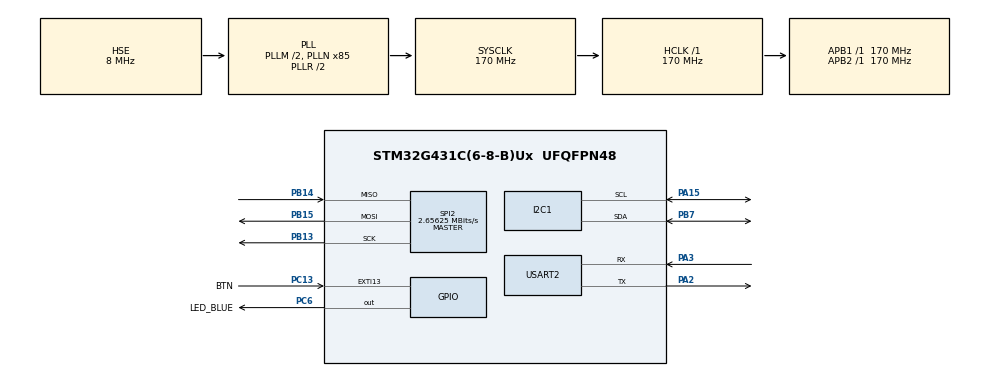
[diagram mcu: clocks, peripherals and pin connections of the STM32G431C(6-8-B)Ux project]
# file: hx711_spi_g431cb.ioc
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Dma.Request0=SPI2_RX
Dma.Request1=SPI2_TX
Dma.SPI2_RX.0.Direction=DMA_PERIPH_TO_MEMORY
Dma.SPI2_RX.0.EventEnable=DISABLE
Dma.SPI2_RX.0.Instance=DMA1_Channel1
Dma.SPI2_RX.0.MemDataAlignment=DMA_MDATAALIGN_BYTE
Dma.SPI2_RX.0.MemInc=DMA_MINC_ENABLE
Dma.SPI2_RX.0.Mode=DMA_NORMAL
Dma.SPI2_RX.0.PeriphDataAlignment=DMA_PDATAALIGN_BYTE
Dma.SPI2_RX.0.PeriphInc=DMA_PINC_DISABLE
Dma.SPI2_RX.0.Polarity=HAL_DMAMUX_REQ_GEN_RISING
Dma.SPI2_RX.0.Priority=DMA_PRIORITY_LOW
Dma.SPI2_RX.0.RequestNumber=1
Dma.SPI2_RX.0.SignalID=NONE
Dma.SPI2_RX.0.SyncEnable=DISABLE
Dma.SPI2_RX.0.SyncPolarity=HAL_DMAMUX_SYNC_NO_EVENT
Dma.SPI2_RX.0.SyncRequestNumber=1
Dma.SPI2_RX.0.SyncSignalID=NONE
Dma.SPI2_TX.1.Direction=DMA_MEMORY_TO_PERIPH
Dma.SPI2_TX.1.EventEnable=DISABLE
Dma.SPI2_TX.1.Instance=DMA1_Channel2
Dma.SPI2_TX.1.MemDataAlignment=DMA_MDATAALIGN_BYTE
Dma.SPI2_TX.1.MemInc=DMA_MINC_ENABLE
Dma.SPI2_TX.1.Mode=DMA_NORMAL
Dma.SPI2_TX.1.PeriphDataAlignment=DMA_PDATAALIGN_BYTE
Dma.SPI2_TX.1.PeriphInc=DMA_PINC_DISABLE
Dma.SPI2_TX.1.Polarity=HAL_DMAMUX_REQ_GEN_RISING
Dma.SPI2_TX.1.Priority=DMA_PRIORITY_LOW
Dma.SPI2_TX.1.RequestNumber=1
Dma.SPI2_TX.1.SignalID=NONE
Dma.SPI2_TX.1.SyncEnable=DISABLE
Dma.SPI2_TX.1.SyncPolarity=HAL_DMAMUX_SYNC_NO_EVENT
Dma.SPI2_TX.1.SyncRequestNumber=1
Dma.SPI2_TX.1.SyncSignalID=NONE
I2C1.Timing=0x30A0A7FB
Mcu.Family=STM32G4
Mcu.Name=STM32G431C(6-8-B)Ux
Mcu.Package=UFQFPN48
NVIC.DMA1_Channel1_IRQn=true\:0\:0\:false\:false\:true\:false\:true\:true
NVIC.DMA1_Channel2_IRQn=true\:0\:0\:false\:false\:true\:false\:true\:true
NVIC.EXTI15_10_IRQn=true\:0\:0\:false\:false\:true\:true\:true\:true
NVIC.PriorityGroup=NVIC_PRIORITYGROUP_4
NVIC.SPI2_IRQn=true\:0\:0\:false\:false\:true\:true\:true\:true
PA13.Mode=Serial_Wire
PA13.Signal=SYS_JTMS-SWDIO
PA14.Mode=Serial_Wire
PA14.Signal=SYS_JTCK-SWCLK
PA15.Mode=I2C
PA15.Signal=I2C1_SCL
PA2.Mode=Asynchronous
PA2.Signal=USART2_TX
PA3.Mode=Asynchronous
PA3.Signal=USART2_RX
PB13.GPIO_Speed=GPIO_SPEED_FREQ_HIGH
PB13.Mode=Full_Duplex_Master
PB13.Signal=SPI2_SCK
PB14.GPIO_Speed=GPIO_SPEED_FREQ_HIGH
PB14.Mode=Full_Duplex_Master
PB14.Signal=SPI2_MISO
PB15.GPIO_Speed=GPIO_SPEED_FREQ_HIGH
PB15.Mode=Full_Duplex_Master
PB15.Signal=SPI2_MOSI
PB7.Mode=I2C
PB7.Signal=I2C1_SDA
PC13.GPIO_Label=BTN
PC13.GPIO_ModeDefaultEXTI=GPIO_MODE_IT_RISING
PC13.GPIO_PuPd=GPIO_PULLDOWN
PC13.Signal=GPXTI13
PC14-OSC32_IN.Mode=LSE-External-Oscillator
PC14-OSC32_IN.Signal=RCC_OSC32_IN
PC15-OSC32_OUT.Mode=LSE-External-Oscillator
PC15-OSC32_OUT.Signal=RCC_OSC32_OUT
PC6.GPIO_Label=LED_BLUE
PC6.Signal=GPIO_Output
PF0-OSC_IN.Mode=HSE-External-Oscillator
PF0-OSC_IN.Signal=RCC_OSC_IN
PF1-OSC_OUT.Mode=HSE-External-Oscillator
PF1-OSC_OUT.Signal=RCC_OSC_OUT
ProjectManager.HeapSize=0x200
ProjectManager.StackSize=0x400
ProjectManager.TargetToolchain=STM32CubeIDE
RCC.ADC12Freq_Value=170000000
RCC.AHBFreq_Value=170000000
RCC.APB1Freq_Value=170000000
RCC.APB1TimFreq_Value=170000000
RCC.APB2Freq_Value=170000000
RCC.APB2TimFreq_Value=170000000
RCC.CortexFreq_Value=170000000
RCC.EXTERNAL_CLOCK_VALUE=12288000
RCC.HCLKFreq_Value=170000000
RCC.HSE_VALUE=8000000
RCC.HSI48_VALUE=48000000
RCC.HSI_VALUE=16000000
RCC.PLLM=RCC_PLLM_DIV2
RCC.PLLN=85
RCC.PLLSourceVirtual=RCC_PLLSOURCE_HSE
RCC.SYSCLKFreq_VALUE=170000000
RCC.SYSCLKSource=RCC_SYSCLKSOURCE_PLLCLK
RCC.USBFreq_Value=170000000
RCC.VCOOutputFreq_Value=340000000
SPI2.BaudRatePrescaler=SPI_BAUDRATEPRESCALER_64
SPI2.CalculateBaudRate=2.65625 MBits/s
SPI2.DataSize=SPI_DATASIZE_8BIT
SPI2.Direction=SPI_DIRECTION_2LINES
SPI2.Mode=SPI_MODE_MASTER
SPI2.VirtualType=VM_MASTER
USART2.VirtualMode-Asynchronous=VM_ASYNC
board=custom

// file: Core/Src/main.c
/* USER CODE BEGIN Header */
/**
  ******************************************************************************
  * @file           : main.c
  * @brief          : Main program body
  ******************************************************************************
  * @attention
  *
  * Copyright (c) 2024 STMicroelectronics.
  * All rights reserved.
  *
  * This software is licensed under terms that can be found in the LICENSE file
  * in the root directory of this software component.
  * If no LICENSE file comes with this software, it is provided AS-IS.
  *
  ******************************************************************************
  */
/* USER CODE END Header */
#include "main.h"
#include "dma.h"
#include "i2c.h"
#include "spi.h"
#include "usart.h"
#include "gpio.h"

/* USER CODE BEGIN Includes */
#include <math.h>
#include <stdio.h>
#include <stdlib.h>
#include "ssd1306.h"
#include "bit_band.h"
#include "eeprom.h"

/* USER CODE END Includes */

/* USER CODE BEGIN PD */
#define MEASURE_AMOUNT		3

#define OLED_UPDATE_PERIOD 500

#define BYTE_TO_BINARY(byte)  \
  (byte & 0x80 ? '1' : '0'), \
  (byte & 0x40 ? '1' : '0'), \
  (byte & 0x20 ? '1' : '0'), \
  (byte & 0x10 ? '1' : '0'), \
  (byte & 0x08 ? '1' : '0'), \
  (byte & 0x04 ? '1' : '0'), \
  (byte & 0x02 ? '1' : '0'), \
  (byte & 0x01 ? '1' : '0')

/* USER CODE END PD */

/* USER CODE BEGIN PV */
//volatile uint32_t multiplier = 0;
volatile uint8_t status = 0;
volatile uint8_t calibration = 0;
volatile uint8_t sensor_read_flag = 0;
volatile uint8_t button_flag = 0;
//int8_t sensor_process_flag = 0;
//uint8_t measure_amount = 0;
int32_t avg_value;
int32_t sum_value;
int16_t ref_value;

uint8_t TxData[8] =
{ 0b0000000, 0x00000001, 0b01010101, 0b01010101, 0b01010101, 0b01010101,
		0b01010101, 0b01010101 };  // clock, 25 ticks
uint8_t RxData[8];
uint32_t raw_reading;
int32_t converted_reading;

union
{
	uint32_t uint32_value;
	int32_t int32_value;
} uint2int_converter;

int32_t measured_weight;
//uint8_t UartMessage[256];
//uint16_t MessageLength;

char lcd_line[32];
uint32_t SoftTimerLCD;
int16_t offset;

void collect_data(void);
int32_t smoother(int32_t raw);
/* USER CODE END PV */

void SystemClock_Config(void);

int main(void)
{

  /* MCU Configuration--------------------------------------------------------*/

  /* Reset of all peripherals, Initializes the Flash interface and the Systick. */
  HAL_Init();

  /* Configure the system clock */
  SystemClock_Config();

  /* Initialize all configured peripherals */
  MX_GPIO_Init();
  MX_DMA_Init();
  MX_I2C1_Init();
  MX_USART2_UART_Init();
  MX_SPI2_Init();
  /* USER CODE BEGIN 2 */
	ssd1306_Init();
	ssd1306_Fill(Black);
/***********************calculate offset start**********************/
	HAL_SPI_TransmitReceive_DMA(&hspi2, (uint8_t*) (&TxData), (uint8_t*) (&RxData), sizeof(TxData));
	HAL_Delay(100);
	while(HAL_GPIO_ReadPin(GPIOB, GPIO_PIN_14) == GPIO_PIN_SET) {}
	HAL_SPI_TransmitReceive_DMA(&hspi2, (uint8_t*) (&TxData), (uint8_t*) (&RxData), sizeof(TxData));
	HAL_Delay(100);		//yes, that is weird

	for(int8_t i = 0; i < MEASURE_AMOUNT; i++)
	{
		while(!sensor_read_flag	|| (HAL_GPIO_ReadPin(GPIOB, GPIO_PIN_14) == GPIO_PIN_SET)) {}
		sensor_read_flag = 0;
		HAL_SPI_TransmitReceive_DMA(&hspi2, (uint8_t*) (&TxData), (uint8_t*) (&RxData), sizeof(TxData));
		collect_data();
		sum_value += measured_weight;
	}
	offset = sum_value / MEASURE_AMOUNT;
/***********************calculate offset end**********************/
	if(GPIOC->IDR & BTN_Pin)	//to get reference value
	{
		led_on();
		calibration = 1;
		ssd1306_SetCursor(10, 2);
		ssd1306_WriteString(" press to start", Font_7x10, White);
		ssd1306_SetCursor(5, 15);
		ssd1306_WriteString("calibration", Font_11x18, White);
	}else						//normal start procedure
	{
		ref_value = settings_load();
		ssd1306_SetCursor(0, 2);
		ssd1306_WriteString("RefValue    Offset", Font_7x10, White);
//		  sprintf(lcd_line, "0x%lX%2d", saved_settings_address, settings_index);
		  sprintf(lcd_line, "%5d%6d", ref_value, offset);
		  ssd1306_SetCursor(5, 15);
		  ssd1306_WriteString(lcd_line, Font_11x18, White);
	}
	ssd1306_UpdateScreen();

	SoftTimerLCD = HAL_GetTick();
  /* USER CODE END 2 */

  /* Infinite loop */
  /* USER CODE BEGIN WHILE */
  while (1)
  {
	  if(calibration)
	  {
		  if(button_flag && !status)
		  {
			  button_flag = 0;
			  status = 1;
			  ssd1306_SetCursor(10, 2);
			  ssd1306_WriteString(" press to stop ", Font_7x10, White);
			  HAL_Delay(500);
			  BIT_BAND_PERI(EXTI->IMR1, EXTI_IMR1_IM13) = 1;
		  }

		  if(button_flag && status)
		  {
			  button_flag = 0;
			  status = 0;
			  calibration = 0;
			  led_off();

			  settings_save(avg_value);			//save multiplier to eeprom
			  ref_value = settings_load();

			  ssd1306_SetCursor(10, 2);
			  ssd1306_WriteString("  measurement  ", Font_7x10, White);
			  sprintf(lcd_line, "RefVal%5d", ref_value);
//			  sprintf(lcd_line, "0x%lX%2d", saved_settings_address, settings_index);
			  ssd1306_SetCursor(5, 15);
			  ssd1306_WriteString(lcd_line, Font_11x18, White);
//			  ssd1306_WriteString("HX711 (DMA)", Font_11x18, White);
			  HAL_Delay(100);
		  }
	  }

		if ((sensor_read_flag == 1)	&& (HAL_GPIO_ReadPin(GPIOB, GPIO_PIN_14) == GPIO_PIN_RESET))
		{
			sensor_read_flag = 0;
			HAL_SPI_TransmitReceive_DMA(&hspi2, (uint8_t*) (&TxData), (uint8_t*) (&RxData), sizeof(TxData));
			collect_data();
//			measured_weight = measured_weight - offset;
//			if(measured_weight < 0) measured_weight = 0;
			avg_value = smoother(measured_weight - offset);

			if ((HAL_GetTick() - SoftTimerLCD) > OLED_UPDATE_PERIOD)
			{
				SoftTimerLCD = HAL_GetTick();

				sprintf(lcd_line, "%5ld g", avg_value);
				ssd1306_SetCursor(10, 37);
				ssd1306_WriteString(lcd_line, Font_16x26, White);
				ssd1306_UpdateScreen();
			}
		}
    /* USER CODE END WHILE */

  }
}

void SystemClock_Config(void)
{
  RCC_OscInitTypeDef RCC_OscInitStruct = {0};
  RCC_ClkInitTypeDef RCC_ClkInitStruct = {0};

  /** Configure the main internal regulator output voltage
  */
  HAL_PWREx_ControlVoltageScaling(PWR_REGULATOR_VOLTAGE_SCALE1_BOOST);

  /** Initializes the RCC Oscillators according to the specified parameters
  * in the RCC_OscInitTypeDef structure.
  */
  RCC_OscInitStruct.OscillatorType = RCC_OSCILLATORTYPE_HSE;
  RCC_OscInitStruct.HSEState = RCC_HSE_ON;
  RCC_OscInitStruct.PLL.PLLState = RCC_PLL_ON;
  RCC_OscInitStruct.PLL.PLLSource = RCC_PLLSOURCE_HSE;
  RCC_OscInitStruct.PLL.PLLM = RCC_PLLM_DIV2;
  RCC_OscInitStruct.PLL.PLLN = 85;
  RCC_OscInitStruct.PLL.PLLP = RCC_PLLP_DIV2;
  RCC_OscInitStruct.PLL.PLLQ = RCC_PLLQ_DIV2;
  RCC_OscInitStruct.PLL.PLLR = RCC_PLLR_DIV2;
  if (HAL_RCC_OscConfig(&RCC_OscInitStruct) != HAL_OK)
  {
    Error_Handler();
  }

  /** Initializes the CPU, AHB and APB buses clocks
  */
  RCC_ClkInitStruct.ClockType = RCC_CLOCKTYPE_HCLK|RCC_CLOCKTYPE_SYSCLK
                              |RCC_CLOCKTYPE_PCLK1|RCC_CLOCKTYPE_PCLK2;
  RCC_ClkInitStruct.SYSCLKSource = RCC_SYSCLKSOURCE_PLLCLK;
  RCC_ClkInitStruct.AHBCLKDivider = RCC_SYSCLK_DIV1;
  RCC_ClkInitStruct.APB1CLKDivider = RCC_HCLK_DIV1;
  RCC_ClkInitStruct.APB2CLKDivider = RCC_HCLK_DIV1;

  if (HAL_RCC_ClockConfig(&RCC_ClkInitStruct, FLASH_LATENCY_4) != HAL_OK)
  {
    Error_Handler();
  }
}

/* USER CODE BEGIN 4 */
void HAL_SPI_TxRxCpltCallback(SPI_HandleTypeDef *hspi)
{
	if (hspi->Instance == SPI2)
	{
		sensor_read_flag = 1;
	}
}

void HAL_GPIO_EXTI_Callback(uint16_t GPIO_Pin)
{
	if (GPIO_Pin == BTN_Pin)
	{	//prevent to stop calibration abruptly
		BIT_BAND_PERI(EXTI->IMR1, EXTI_IMR1_IM13) = 0;
		if(GPIOC->IDR & BTN_Pin) button_flag = 1;
//		HAL_Delay(50);
	}
}

void collect_data(void)
{
	raw_reading = (((uint32_t) (RxData[7] & 0b00000010)) >> 1)
			| (((uint32_t) (RxData[7] & 0b00001000)) >> 2)
			| (((uint32_t) (RxData[7] & 0b00100000)) >> 3)
			| (((uint32_t) (RxData[7] & 0b10000000)) >> 4)
			| (((uint32_t) (RxData[6] & 0b00000010)) << 3)
			| (((uint32_t) (RxData[6] & 0b00001000)) << 2)
			| (((uint32_t) (RxData[6] & 0b00100000)) << 1)
			| (((uint32_t) (RxData[6] & 0b10000000)) << 0) |

			(((uint32_t) (RxData[5] & 0b00000010)) << 7)
			| (((uint32_t) (RxData[5] & 0b00001000)) << 6)
			| (((uint32_t) (RxData[5] & 0b00100000)) << 5)
			| (((uint32_t) (RxData[5] & 0b10000000)) << 4)
			| (((uint32_t) (RxData[4] & 0b00000010)) << 11)
			| (((uint32_t) (RxData[4] & 0b00001000)) << 10)
			| (((uint32_t) (RxData[4] & 0b00100000)) << 9)
			| (((uint32_t) (RxData[4] & 0b10000000)) << 8) |

			(((uint32_t) (RxData[3] & 0b00000010)) << 15)
			| (((uint32_t) (RxData[3] & 0b00001000)) << 14)
			| (((uint32_t) (RxData[3] & 0b00100000)) << 13)
			| (((uint32_t) (RxData[3] & 0b10000000)) << 12)
			| (((uint32_t) (RxData[2] & 0b00000010)) << 19)
			| (((uint32_t) (RxData[2] & 0b00001000)) << 18)
			| (((uint32_t) (RxData[2] & 0b00100000)) << 17)
			| (((uint32_t) (RxData[2] & 0b10000000)) << 16) |

			(((uint32_t) (RxData[1] & 0b00000010)) << 23)
			| (((uint32_t) (RxData[1] & 0b00001000)) << 22)
			| (((uint32_t) (RxData[1] & 0b00100000)) << 21)
			| (((uint32_t) (RxData[1] & 0b10000000)) << 20);

	raw_reading = raw_reading << 8; // 24-bit two's complement in 32-bit variable

	uint2int_converter.uint32_value = raw_reading;
	converted_reading = uint2int_converter.int32_value;//	/ 256.0;

	measured_weight = converted_reading >> 16;
}

int32_t smoother(int32_t raw)
{
    static int32_t accum = 0;
    accum = accum - accum / MEASURE_AMOUNT + raw;
    return accum/MEASURE_AMOUNT;
}
/* USER CODE END 4 */

void Error_Handler(void)
{
  __disable_irq();
  while (1)
  {
  }
}
